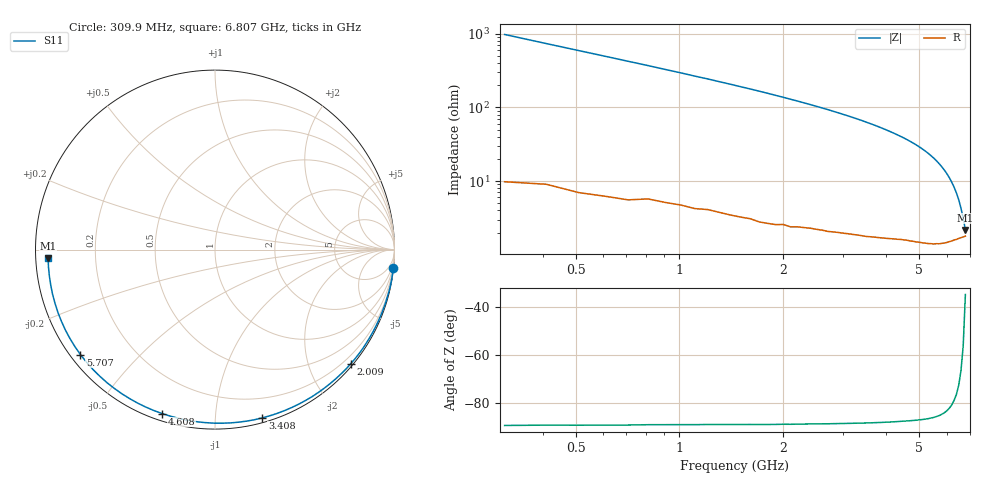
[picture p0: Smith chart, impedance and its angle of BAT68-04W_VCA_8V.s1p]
! Infineon Technologies  Discrete & RF Semiconductors
! BAT68-04W
! VCA = 8 V
! One-Port S-Parameters
# Hz  S  MA  R  50
!f  S11
!Hz  Mag  Ang
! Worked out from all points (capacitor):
!   66 points, 309.9 MHz to 6.807 GHz, reference 50 ohm
!   read as one part to ground: C = 528 fF near 309.9 MHz
!   lowest |Z| = 2.18 ohm at 6.807 GHz (marker M1)
!   S11 on the Smith chart (normalised r, x): 309.9 MHz: 0, -20; 2.009 GHz: 0.05, -2.74; 3.408 GHz: 0.04, -1.32; 4.608 GHz: 0.03, -0.73; 5.707 GHz: 0.03, -0.34; 6.807 GHz: 0.04, -0.02
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3.0985e8  0.999 -5.9
7.0965e8  0.9969 -13.5
1.0095e9  0.9947 -19.3
1.2094e9  0.9934 -23.2
1.6092e9  0.991 -31.4
1.8091e9  0.9901 -35.7
2.009e9  0.988 -40.1
2.2089e9  0.9863 -44.6
2.4088e9  0.9842 -49.2
2.70865e9  0.9817 -56.4
2.8086e9  0.9805 -58.9
3.10845e9  0.9771 -66.4
3.4083e9  0.974 -74.2
3.6082e9  0.9717 -79.6
3.8081e9  0.9693 -85.1
4.008e9  0.9668 -90.6
4.2079e9  0.9642 -96.3
4.4078e9  0.9617 -102.1
4.6077e9  0.9597 -107.9
4.90755e9  0.9577 -116.8
5.2074e9  0.9554 -126.1
5.50725e9  0.9531 -135.6
5.70715e9  0.9509 -142.0
6.007e9  0.9463 -151.8
6.2069e9  0.9425 -158.2
6.4068e9  0.9386 -164.6
6.6067e9  0.9345 -171.0
6.8066e9  0.9311 -177.1
